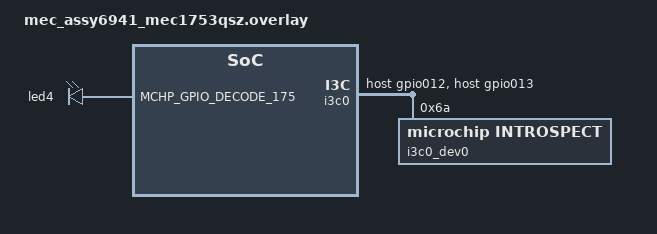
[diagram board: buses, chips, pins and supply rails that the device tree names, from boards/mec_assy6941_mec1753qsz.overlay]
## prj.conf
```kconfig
CONFIG_STDOUT_CONSOLE=y
CONFIG_CBPRINTF_FP_SUPPORT=y

CONFIG_I3C=y
CONFIG_I3C_IBI_WORKQUEUE=y
#Enable below for I3C0/I3C1 Host mode
CONFIG_INTROSPECT=y

CONFIG_LOG=y

# CONFIG_CONSOLE=y
# CONFIG_UART_CONSOLE=y
# CONFIG_SHELL=y

CONFIG_I3C_LOG_LEVEL_DBG=y
```

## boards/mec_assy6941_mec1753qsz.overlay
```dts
/*
 * Copyright (c) 2024 Microchip Technology Inc.
 *
 * SPDX-License-Identifier: Apache-2.0
 */

#include <zephyr/dt-bindings/gpio/gpio.h>
#include <microchip/mec5/mec1753qsz-a0-pinctrl.dtsi>
/ {
        chosen {
            zephyr,console = &uart1;
			zephyr,shell-uart = &uart1;
        };

        aliases {
                led0 = &led4;
        };

        leds {
                compatible = "gpio-leds";
                led4: led_0 {
                        gpios = <MCHP_GPIO_DECODE_175 GPIO_ACTIVE_HIGH>;
                };
        };
};

&i3c0 {
	status = "okay";

	pinctrl-0 = <&i3c01_sda_host_gpio012 &i3c01_scl_host_gpio013>;
	pinctrl-names = "default";

	i3c0_dev0: dev0@6A0000A0123456789A {
		compatible = "microchip,introspect";

		reg = < 0x6A 0xA012 0x3456789A >;
                /* Dynamic Address To Be Assigned To The Device */
		assigned-address = <0x5C>;

		status = "okay";
	};

	/*i3c0_dev1: dev1@6B0000B0123456789B {
		compatible = "microchip,introspect";

		reg = < 0x6B 0xB012 0x3456789B >;
		//assigned-address = <0x6B>;

		status = "disabled";
	};

	i3c0_dev2: dev2@000000C0123456789C {
		compatible = "st,lps22hh";

		reg = < 0x00 0xC012 0x3456789C >;
		assigned-address = 0x5A;

		status = "okay";
	};


	lps22hh: lps22hh@690000046A00000000 {
		compatible = "st,lps22hh";
		reg = <0x69 0x046A 0x00000000>;
		assigned-address = 0x5B;

		status = "okay";
	};
	i2c-dev0: i2c-dev0@380000000000000050 {
		compatible = "vendor-i2c-dev";

		reg = < 0x38 0x0 0x50 >;

		status = "okay";
	};*/
};

&i3c1 {
        status = "disabled";

        pinctrl-0 = <&i3c00_sda_target_gpio132 &i3c00_scl_target_gpio140>;
        pinctrl-names = "default";
        i3c1-as-tgt-pid = < 0xB012 0x3456789B >;
        /* false if absent */
        /*i3c1-as-tgt-pid-random;*/
        i3c1-as-tgt-static-addr= < 0x6B >;
        i3c1-as-tgt-mrl = < 8 >;
        i3c1-as-tgt-mwl = < 8 >;
};
```

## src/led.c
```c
#include <stdio.h>
#include <zephyr/kernel.h>
#include <zephyr/device.h>
#include <zephyr/drivers/gpio.h>
#include <zephyr/sys/util.h>


#include <zephyr/logging/log.h>
LOG_MODULE_REGISTER(led, LOG_LEVEL_INF);

#define LED_STACK_SIZE 1024
#define LED_PRIORITY 5

#define SLEEP_TIME_MS   500

#define LED0_NODE DT_ALIAS(led0)
static const struct gpio_dt_spec led = GPIO_DT_SPEC_GET(LED0_NODE, gpios);

static void led_thread(void *, void *, void *) {
	int ret;

	if (!gpio_is_ready_dt(&led)) {
		return 0;
	}

	ret = gpio_pin_configure_dt(&led, GPIO_OUTPUT_ACTIVE);
	if (ret < 0) {
		return 0;
	}

	while (1) {
		ret = gpio_pin_toggle_dt(&led);
		if (ret < 0) {
			return 0;
		}

		k_msleep(SLEEP_TIME_MS);
	}

	return 0;
}

K_THREAD_DEFINE(led_tid, LED_STACK_SIZE,
                led_thread, NULL, NULL, NULL,
                LED_PRIORITY, 0, 0);
```
